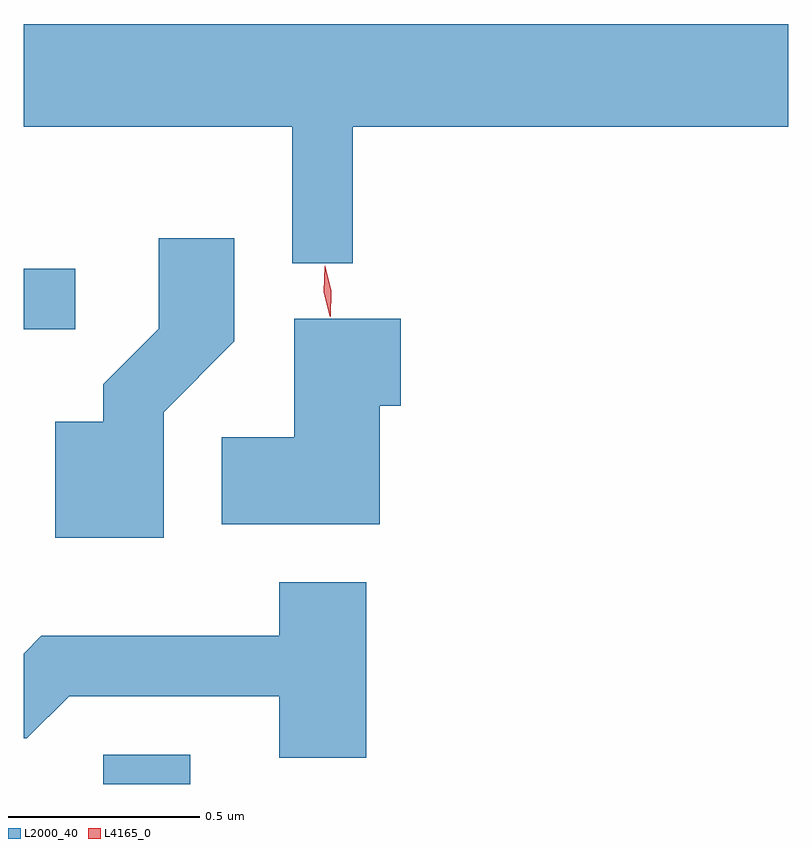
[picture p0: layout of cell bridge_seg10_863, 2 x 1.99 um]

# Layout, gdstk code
import gdstk
lib = gdstk.Library(unit=1e-6, precision=1e-09)
def R(c, l, rs):  # rectangles x0, y0, x1, y1
    for r in rs: c.add(gdstk.rectangle(r[:2], r[2:], *l))
def P(c, l, *ps):  # polygons
    for p in ps: c.add(gdstk.Polygon(p, *l))
L2000_40 = (2000, 40)
L4165_0 = (4165, 0)

bridge_seg10_863 = lib.new_cell('bridge_seg10_863')
R(bridge_seg10_863, L2000_40, [(351.311,2096.657,351.539,2096.734), (351.103,2097.846,351.238,2098.004)])
P(bridge_seg10_863, L2000_40, [(351.964,2098.376),(353.103,2098.376),(353.103,2098.644),(351.103,2098.644),(351.103,2098.376),(351.806,2098.376),(351.806,2098.018),(351.964,2098.018)],
  [(351.469,2097.629),(351.654,2097.814),(351.654,2098.084),(351.456,2098.084),(351.456,2097.847),(351.311,2097.702),(351.311,2097.604),(351.186,2097.604),(351.186,2097.301),(351.469,2097.301)],
  [(352.034,2097.646),(352.089,2097.646),(352.089,2097.874),(351.811,2097.874),(351.811,2097.564),(351.621,2097.564),(351.621,2097.336),(352.034,2097.336)],
  [(351.999,2097.184),(351.771,2097.184),(351.771,2097.044),(351.149,2097.044),(351.103,2096.998),(351.103,2096.776),(351.112,2096.776),(351.222,2096.886),(351.771,2096.886),(351.771,2096.726),(351.999,2096.726)])
P(bridge_seg10_863, L4165_0, [(351.905,2097.879),(351.904,2097.88),(351.888,2097.944),(351.891,2098.011),(351.892,2098.012),(351.892,2098.011),(351.908,2097.946),(351.906,2097.88)])

lib.write_gds('bridge_seg10_863.gds')
